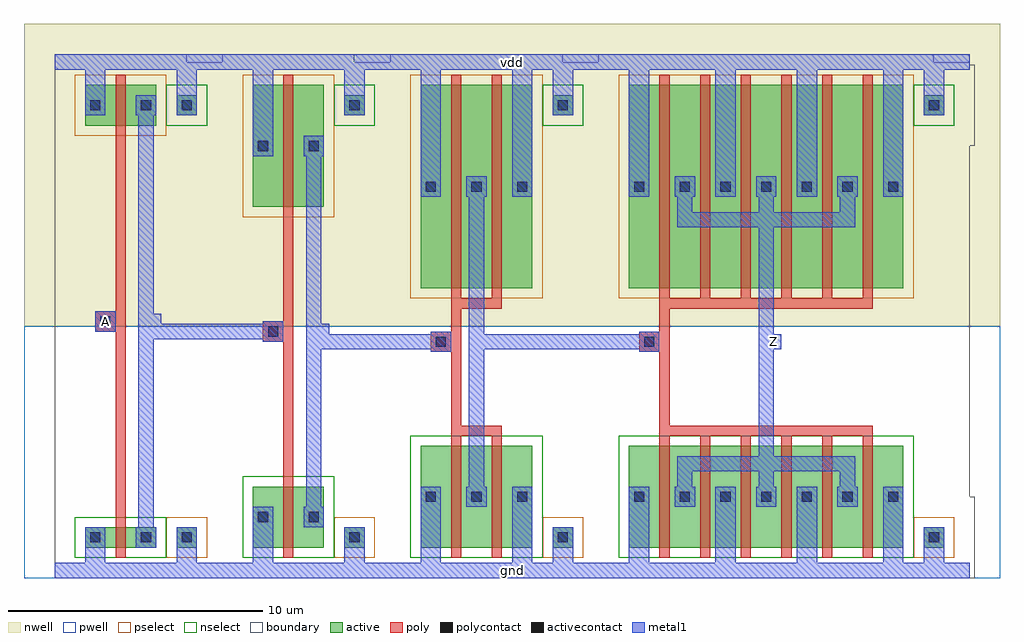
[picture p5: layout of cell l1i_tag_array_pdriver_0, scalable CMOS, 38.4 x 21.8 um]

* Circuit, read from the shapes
.subckt l1i_tag_array_pdriver_0 A Z gnd vdd
M1 l1i_tag_array_pinv_8_1/A A gnd gnd nfet w=0.8u l=0.4u
M2 l1i_tag_array_pinv_9_2/A l1i_tag_array_pinv_8_1/A gnd gnd nfet w=2.4u l=0.4u
M3 l1i_tag_array_pinv_10_3/A l1i_tag_array_pinv_9_2/A gnd gnd nfet w=4u l=0.4u m=2
M4 Z l1i_tag_array_pinv_10_3/A gnd gnd nfet w=4u l=0.4u m=6
M5 l1i_tag_array_pinv_8_1/A A vdd vdd pfet w=1.6u l=0.4u
M6 l1i_tag_array_pinv_9_2/A l1i_tag_array_pinv_8_1/A vdd vdd pfet w=4.8u l=0.4u
M7 l1i_tag_array_pinv_10_3/A l1i_tag_array_pinv_9_2/A vdd vdd pfet w=8u l=0.4u m=2
M8 Z l1i_tag_array_pinv_10_3/A vdd vdd pfet w=8u l=0.4u m=6
.ends

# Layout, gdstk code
import gdstk
lib = gdstk.Library(unit=1e-6, precision=1e-09)
def R(c, l, rs):  # rectangles x0, y0, x1, y1
    for r in rs: c.add(gdstk.rectangle(r[:2], r[2:], *l))
def A(c, l, x, y, w, h, nx, ny, dx, dy):  # array of equal rectangles
    R(c, l, [(x+i*dx, y+j*dy, x+i*dx+w, y+j*dy+h) for i in range(nx) for j in range(ny)])
pwell = (41, 0)
nwell = (42, 0)
active = (43, 0)
pselect = (44, 0)
nselect = (45, 0)
poly = (46, 0)
polycontact = (47, 0)
activecontact = (48, 0)
metal1 = (49, 0)
boundary = (63, 0)

l1i_tag_array_contact_11 = lib.new_cell('l1i_tag_array_contact_11')
R(l1i_tag_array_contact_11, nwell, [(-1.2,-1.2,2,2)])
R(l1i_tag_array_contact_11, active, [(0,0,0.8,0.8)])
R(l1i_tag_array_contact_11, pselect, [(-0.4,-0.4,1.2,1.2)])
R(l1i_tag_array_contact_11, activecontact, [(0.2,0.2,0.6,0.6)])
R(l1i_tag_array_contact_11, metal1, [(0,0,0.8,0.8)])
R(l1i_tag_array_contact_11, boundary, [(-1.2,-1.2,2,2)])

l1i_tag_array_pmos_m1_w1 = lib.new_cell('l1i_tag_array_pmos_m1_w1_600_sm1_dm1_da_p')
R(l1i_tag_array_pmos_m1_w1, nwell, [(-1.2,-1.2,4,2.8)])
R(l1i_tag_array_pmos_m1_w1, active, [(0,0,2.8,1.6)])
R(l1i_tag_array_pmos_m1_w1, pselect, [(-0.4,-0.4,3.2,2)])
R(l1i_tag_array_pmos_m1_w1, poly, [(1.2,-0.4,1.6,2), (1.2,-0.4,1.6,2)])
R(l1i_tag_array_pmos_m1_w1, metal1, [(0,0.4,0.8,1.2), (2,0.4,2.8,1.2)])
R(l1i_tag_array_pmos_m1_w1, boundary, [(-1.2,-1.2,4,2.8)])
l1i_tag_array_pmos_m1_w1.add(gdstk.Reference(l1i_tag_array_contact_11, (0,0.4)))
l1i_tag_array_pmos_m1_w1.add(gdstk.Reference(l1i_tag_array_contact_11, (2,0.4)))
l1i_tag_array_pmos_m1_w1.add(gdstk.Label('G', (1.4,0.8), layer=46, texttype=0))
l1i_tag_array_pmos_m1_w1.add(gdstk.Label('S', (0.4,0.8), layer=49, texttype=0))
l1i_tag_array_pmos_m1_w1.add(gdstk.Label('D', (2.4,0.8), layer=49, texttype=0))

l1i_tag_array_contact_10 = lib.new_cell('l1i_tag_array_contact_10')
R(l1i_tag_array_contact_10, pwell, [(-1.2,-1.2,2,2)])
R(l1i_tag_array_contact_10, active, [(0,0,0.8,0.8)])
R(l1i_tag_array_contact_10, nselect, [(-0.4,-0.4,1.2,1.2)])
R(l1i_tag_array_contact_10, activecontact, [(0.2,0.2,0.6,0.6)])
R(l1i_tag_array_contact_10, metal1, [(0,0,0.8,0.8)])
R(l1i_tag_array_contact_10, boundary, [(-1.2,-1.2,2,2)])

l1i_tag_array_nmos_m1_w0 = lib.new_cell('l1i_tag_array_nmos_m1_w0_800_sm1_dm1_da_p')
R(l1i_tag_array_nmos_m1_w0, pwell, [(-1.2,-1.2,4,2)])
R(l1i_tag_array_nmos_m1_w0, active, [(0,0,2.8,0.8)])
R(l1i_tag_array_nmos_m1_w0, nselect, [(-0.4,-0.4,3.2,1.2)])
R(l1i_tag_array_nmos_m1_w0, poly, [(1.2,-0.4,1.6,1.2), (1.2,-0.4,1.6,1.2)])
R(l1i_tag_array_nmos_m1_w0, metal1, [(0,0,0.8,0.8), (2,0,2.8,0.8)])
R(l1i_tag_array_nmos_m1_w0, boundary, [(-1.2,-1.2,4,2)])
l1i_tag_array_nmos_m1_w0.add(gdstk.Reference(l1i_tag_array_contact_10, (0,0)))
l1i_tag_array_nmos_m1_w0.add(gdstk.Reference(l1i_tag_array_contact_10, (2,0)))
l1i_tag_array_nmos_m1_w0.add(gdstk.Label('G', (1.4,0.4), layer=46, texttype=0))
l1i_tag_array_nmos_m1_w0.add(gdstk.Label('S', (0.4,0.4), layer=49, texttype=0))
l1i_tag_array_nmos_m1_w0.add(gdstk.Label('D', (2.4,0.4), layer=49, texttype=0))

l1i_tag_array_contact_12 = lib.new_cell('l1i_tag_array_contact_12')
R(l1i_tag_array_contact_12, nwell, [(-1.2,-1.2,2,2)])
R(l1i_tag_array_contact_12, active, [(0,0,0.8,0.8)])
R(l1i_tag_array_contact_12, nselect, [(-0.4,-0.4,1.2,1.2)])
R(l1i_tag_array_contact_12, activecontact, [(0.2,0.2,0.6,0.6)])
R(l1i_tag_array_contact_12, metal1, [(0,0,0.8,0.8)])
R(l1i_tag_array_contact_12, boundary, [(-1.2,-1.2,2,2)])

l1i_tag_array_contact_13 = lib.new_cell('l1i_tag_array_contact_13')
R(l1i_tag_array_contact_13, pwell, [(-1.2,-1.2,2,2)])
R(l1i_tag_array_contact_13, active, [(0,0,0.8,0.8)])
R(l1i_tag_array_contact_13, pselect, [(-0.4,-0.4,1.2,1.2)])
R(l1i_tag_array_contact_13, activecontact, [(0.2,0.2,0.6,0.6)])
R(l1i_tag_array_contact_13, metal1, [(0,0,0.8,0.8)])
R(l1i_tag_array_contact_13, boundary, [(-1.2,-1.2,2,2)])

l1i_tag_array_contact_14 = lib.new_cell('l1i_tag_array_contact_14')
R(l1i_tag_array_contact_14, poly, [(0,0,0.8,0.8)])
R(l1i_tag_array_contact_14, polycontact, [(0.2,0.2,0.6,0.6)])
R(l1i_tag_array_contact_14, metal1, [(0,0,0.8,0.8)])
R(l1i_tag_array_contact_14, boundary, [(0,0,0.8,0.8)])

l1i_tag_array_pinv_7 = lib.new_cell('l1i_tag_array_pinv_7')
R(l1i_tag_array_pinv_7, pwell, [(-1.2,-0.3,7.8,9.6)])
R(l1i_tag_array_pinv_7, nwell, [(-1.2,9.6,7.8,21.5)])
R(l1i_tag_array_pinv_7, poly, [(2.4,2.1,2.8,17.1), (2,9.4,2.4,10.2)])
R(l1i_tag_array_pinv_7, metal1, [(0,-0.3,6.6,0.3), (1.2,-0.3,2,0.9), (4.8,0,5.6,1.3), (3.3,0.9,3.9,18.7), (1.6,9.4,2.4,10.2), (3.6,9.5,4.2,10.1), (1.2,17.9,2,20.3), (4.8,18.3,5.6,20), (0,19.7,6.6,20.3)])
R(l1i_tag_array_pinv_7, boundary, [(0,0,6.6,20), (0,0,6.6,20)])
l1i_tag_array_pinv_7.add(gdstk.Reference(l1i_tag_array_pmos_m1_w1, (1.2,17.5)))
l1i_tag_array_pinv_7.add(gdstk.Reference(l1i_tag_array_nmos_m1_w0, (1.2,0.9)))
l1i_tag_array_pinv_7.add(gdstk.Reference(l1i_tag_array_contact_12, (4.8,17.9)))
l1i_tag_array_pinv_7.add(gdstk.Reference(l1i_tag_array_contact_13, (4.8,0.9)))
l1i_tag_array_pinv_7.add(gdstk.Reference(l1i_tag_array_contact_14, (1.6,9.4)))
l1i_tag_array_pinv_7.add(gdstk.Label('A', (2,9.8), layer=49, texttype=0))
l1i_tag_array_pinv_7.add(gdstk.Label('Z', (3.9,9.8), layer=49, texttype=0))
l1i_tag_array_pinv_7.add(gdstk.Label('gnd', (3.3,0), layer=49, texttype=0))
l1i_tag_array_pinv_7.add(gdstk.Label('vdd', (3.3,20), layer=49, texttype=0))

l1i_tag_array_pmos_m1_w4 = lib.new_cell('l1i_tag_array_pmos_m1_w4_800_sm1_dm1_da_p')
R(l1i_tag_array_pmos_m1_w4, nwell, [(-1.2,-1.2,4,6)])
R(l1i_tag_array_pmos_m1_w4, active, [(0,0,2.8,4.8)])
R(l1i_tag_array_pmos_m1_w4, pselect, [(-0.4,-0.4,3.2,5.2)])
R(l1i_tag_array_pmos_m1_w4, poly, [(1.2,-0.4,1.6,5.2), (1.2,-0.4,1.6,5.2)])
R(l1i_tag_array_pmos_m1_w4, metal1, [(0,2,0.8,2.8), (2,2,2.8,2.8)])
R(l1i_tag_array_pmos_m1_w4, boundary, [(-1.2,-1.2,4,6)])
l1i_tag_array_pmos_m1_w4.add(gdstk.Reference(l1i_tag_array_contact_11, (0,2)))
l1i_tag_array_pmos_m1_w4.add(gdstk.Reference(l1i_tag_array_contact_11, (2,2)))
l1i_tag_array_pmos_m1_w4.add(gdstk.Label('G', (1.4,2.4), layer=46, texttype=0))
l1i_tag_array_pmos_m1_w4.add(gdstk.Label('S', (0.4,2.4), layer=49, texttype=0))
l1i_tag_array_pmos_m1_w4.add(gdstk.Label('D', (2.4,2.4), layer=49, texttype=0))

l1i_tag_array_nmos_m1_w2 = lib.new_cell('l1i_tag_array_nmos_m1_w2_400_sm1_dm1_da_p')
R(l1i_tag_array_nmos_m1_w2, pwell, [(-1.2,-1.2,4,3.6)])
R(l1i_tag_array_nmos_m1_w2, active, [(0,0,2.8,2.4)])
R(l1i_tag_array_nmos_m1_w2, nselect, [(-0.4,-0.4,3.2,2.8)])
R(l1i_tag_array_nmos_m1_w2, poly, [(1.2,-0.4,1.6,2.8), (1.2,-0.4,1.6,2.8)])
R(l1i_tag_array_nmos_m1_w2, metal1, [(0,0.8,0.8,1.6), (2,0.8,2.8,1.6)])
R(l1i_tag_array_nmos_m1_w2, boundary, [(-1.2,-1.2,4,3.6)])
l1i_tag_array_nmos_m1_w2.add(gdstk.Reference(l1i_tag_array_contact_10, (0,0.8)))
l1i_tag_array_nmos_m1_w2.add(gdstk.Reference(l1i_tag_array_contact_10, (2,0.8)))
l1i_tag_array_nmos_m1_w2.add(gdstk.Label('G', (1.4,1.2), layer=46, texttype=0))
l1i_tag_array_nmos_m1_w2.add(gdstk.Label('S', (0.4,1.2), layer=49, texttype=0))
l1i_tag_array_nmos_m1_w2.add(gdstk.Label('D', (2.4,1.2), layer=49, texttype=0))

l1i_tag_array_pinv_8 = lib.new_cell('l1i_tag_array_pinv_8')
R(l1i_tag_array_pinv_8, pwell, [(-1.2,-0.3,7.8,9.6)])
R(l1i_tag_array_pinv_8, nwell, [(-1.2,9.6,7.8,21.5)])
R(l1i_tag_array_pinv_8, poly, [(2.4,3.7,2.8,13.9), (2,9,2.4,9.8)])
R(l1i_tag_array_pinv_8, metal1, [(0,-0.3,6.6,0.3), (1.2,-0.3,2,1.7), (4.8,0,5.6,1.3), (3.3,1.7,3.9,17.1), (1.6,9,2.4,9.8), (3.6,9.1,4.2,9.7), (1.2,16.3,2,20.3), (4.8,18.3,5.6,20), (0,19.7,6.6,20.3)])
R(l1i_tag_array_pinv_8, boundary, [(0,0,6.6,20), (0,0,6.6,20)])
l1i_tag_array_pinv_8.add(gdstk.Reference(l1i_tag_array_pmos_m1_w4, (1.2,14.3)))
l1i_tag_array_pinv_8.add(gdstk.Reference(l1i_tag_array_nmos_m1_w2, (1.2,0.9)))
l1i_tag_array_pinv_8.add(gdstk.Reference(l1i_tag_array_contact_12, (4.8,17.9)))
l1i_tag_array_pinv_8.add(gdstk.Reference(l1i_tag_array_contact_13, (4.8,0.9)))
l1i_tag_array_pinv_8.add(gdstk.Reference(l1i_tag_array_contact_14, (1.6,9)))
l1i_tag_array_pinv_8.add(gdstk.Label('A', (2,9.4), layer=49, texttype=0))
l1i_tag_array_pinv_8.add(gdstk.Label('Z', (3.9,9.4), layer=49, texttype=0))
l1i_tag_array_pinv_8.add(gdstk.Label('gnd', (3.3,0), layer=49, texttype=0))
l1i_tag_array_pinv_8.add(gdstk.Label('vdd', (3.3,20), layer=49, texttype=0))

l1i_tag_array_pmos_m2_w8 = lib.new_cell('l1i_tag_array_pmos_m2_w8_000_sm1_dm1_da_p')
R(l1i_tag_array_pmos_m2_w8, nwell, [(-1.2,-1.2,5.6,9.2)])
R(l1i_tag_array_pmos_m2_w8, active, [(0,0,4.4,8)])
R(l1i_tag_array_pmos_m2_w8, pselect, [(-0.4,-0.4,4.8,8.4)])
R(l1i_tag_array_pmos_m2_w8, poly, [(1.2,-0.8,3.2,-0.4), (1.2,-0.4,1.6,8.4), (2.8,-0.4,3.2,8.4)])
A(l1i_tag_array_pmos_m2_w8, metal1, 0, 3.6, 0.8, 0.8, 3, 1, 1.8, 0)
R(l1i_tag_array_pmos_m2_w8, boundary, [(-1.2,-1.2,5.6,9.2)])
l1i_tag_array_pmos_m2_w8.add(gdstk.Reference(l1i_tag_array_contact_11, (0,3.6)))
l1i_tag_array_pmos_m2_w8.add(gdstk.Reference(l1i_tag_array_contact_11, (1.8,3.6)))
l1i_tag_array_pmos_m2_w8.add(gdstk.Reference(l1i_tag_array_contact_11, (3.6,3.6)))
l1i_tag_array_pmos_m2_w8.add(gdstk.Label('G', (2.2,-0.6), layer=46, texttype=0))
l1i_tag_array_pmos_m2_w8.add(gdstk.Label('S', (4,4), layer=49, texttype=0))
l1i_tag_array_pmos_m2_w8.add(gdstk.Label('S', (0.4,4), layer=49, texttype=0))
l1i_tag_array_pmos_m2_w8.add(gdstk.Label('D', (2.2,4), layer=49, texttype=0))

l1i_tag_array_nmos_m2_w4 = lib.new_cell('l1i_tag_array_nmos_m2_w4_000_sm1_dm1_da_p')
R(l1i_tag_array_nmos_m2_w4, pwell, [(-1.2,-1.2,5.6,5.2)])
R(l1i_tag_array_nmos_m2_w4, active, [(0,0,4.4,4)])
R(l1i_tag_array_nmos_m2_w4, nselect, [(-0.4,-0.4,4.8,4.4)])
R(l1i_tag_array_nmos_m2_w4, poly, [(1.2,-0.4,1.6,4.4), (2.8,-0.4,3.2,4.4), (1.2,4.4,3.2,4.8)])
A(l1i_tag_array_nmos_m2_w4, metal1, 0, 1.6, 0.8, 0.8, 3, 1, 1.8, 0)
R(l1i_tag_array_nmos_m2_w4, boundary, [(-1.2,-1.2,5.6,5.2)])
l1i_tag_array_nmos_m2_w4.add(gdstk.Reference(l1i_tag_array_contact_10, (0,1.6)))
l1i_tag_array_nmos_m2_w4.add(gdstk.Reference(l1i_tag_array_contact_10, (1.8,1.6)))
l1i_tag_array_nmos_m2_w4.add(gdstk.Reference(l1i_tag_array_contact_10, (3.6,1.6)))
l1i_tag_array_nmos_m2_w4.add(gdstk.Label('G', (2.2,4.6), layer=46, texttype=0))
l1i_tag_array_nmos_m2_w4.add(gdstk.Label('S', (0.4,2), layer=49, texttype=0))
l1i_tag_array_nmos_m2_w4.add(gdstk.Label('S', (4,2), layer=49, texttype=0))
l1i_tag_array_nmos_m2_w4.add(gdstk.Label('D', (2.2,2), layer=49, texttype=0))

l1i_tag_array_pinv_9 = lib.new_cell('l1i_tag_array_pinv_9')
R(l1i_tag_array_pinv_9, pwell, [(-1.2,-0.3,9.4,9.6)])
R(l1i_tag_array_pinv_9, nwell, [(-1.2,9.6,9.4,21.5)])
R(l1i_tag_array_pinv_9, poly, [(2.4,5.7,2.8,10.3), (2,8.6,2.4,9.4)])
R(l1i_tag_array_pinv_9, metal1, [(0,-0.3,8.2,0.3), (1.2,-0.3,2,2.5), (4.8,-0.3,5.6,2.5), (6.4,0,7.2,1.3), (3.1,2.5,3.7,15.5), (1.6,8.6,2.4,9.4), (3.4,8.7,4,9.3), (1.2,14.7,2,20.3), (4.8,14.7,5.6,20.3), (6.4,18.3,7.2,20), (0,19.7,8.2,20.3)])
R(l1i_tag_array_pinv_9, boundary, [(0,0,8.2,20), (0,0,8.2,20)])
l1i_tag_array_pinv_9.add(gdstk.Reference(l1i_tag_array_pmos_m2_w8, (1.2,11.1)))
l1i_tag_array_pinv_9.add(gdstk.Reference(l1i_tag_array_nmos_m2_w4, (1.2,0.9)))
l1i_tag_array_pinv_9.add(gdstk.Reference(l1i_tag_array_contact_12, (6.4,17.9)))
l1i_tag_array_pinv_9.add(gdstk.Reference(l1i_tag_array_contact_13, (6.4,0.9)))
l1i_tag_array_pinv_9.add(gdstk.Reference(l1i_tag_array_contact_14, (1.6,8.6)))
l1i_tag_array_pinv_9.add(gdstk.Label('A', (2,9), layer=49, texttype=0))
l1i_tag_array_pinv_9.add(gdstk.Label('Z', (3.7,9), layer=49, texttype=0))
l1i_tag_array_pinv_9.add(gdstk.Label('gnd', (4.1,0), layer=49, texttype=0))
l1i_tag_array_pinv_9.add(gdstk.Label('vdd', (4.1,20), layer=49, texttype=0))

l1i_tag_array_pmos_m6_w8 = lib.new_cell('l1i_tag_array_pmos_m6_w8_000_sm1_dm1_da_p')
R(l1i_tag_array_pmos_m6_w8, nwell, [(-1.2,-1.2,12,9.2)])
R(l1i_tag_array_pmos_m6_w8, active, [(0,0,10.8,8)])
R(l1i_tag_array_pmos_m6_w8, pselect, [(-0.4,-0.4,11.2,8.4)])
A(l1i_tag_array_pmos_m6_w8, poly, 1.2, -0.4, 0.4, 8.8, 6, 1, 1.6, 0)
R(l1i_tag_array_pmos_m6_w8, poly, [(1.2,-0.8,9.6,-0.4)])
A(l1i_tag_array_pmos_m6_w8, metal1, 1.9, 2.7, 0.6, 1.3, 3, 1, 3.2, 0)
R(l1i_tag_array_pmos_m6_w8, metal1, [(1.9,2.4,8.9,3), (0,3.6,0.8,4.4), (3.4,3.6,4.2,4.4), (6.6,3.6,7.4,4.4), (10,3.6,10.8,4.4)])
R(l1i_tag_array_pmos_m6_w8, boundary, [(-1.2,-1.2,12,9.2)])
l1i_tag_array_pmos_m6_w8.add(gdstk.Reference(l1i_tag_array_contact_11, (0,3.6)))
l1i_tag_array_pmos_m6_w8.add(gdstk.Reference(l1i_tag_array_contact_11, (1.8,3.6)))
l1i_tag_array_pmos_m6_w8.add(gdstk.Reference(l1i_tag_array_contact_11, (3.4,3.6)))
l1i_tag_array_pmos_m6_w8.add(gdstk.Reference(l1i_tag_array_contact_11, (5,3.6)))
l1i_tag_array_pmos_m6_w8.add(gdstk.Reference(l1i_tag_array_contact_11, (6.6,3.6)))
l1i_tag_array_pmos_m6_w8.add(gdstk.Reference(l1i_tag_array_contact_11, (8.2,3.6)))
l1i_tag_array_pmos_m6_w8.add(gdstk.Reference(l1i_tag_array_contact_11, (10,3.6)))
l1i_tag_array_pmos_m6_w8.add(gdstk.Label('G', (5.4,-0.6), layer=46, texttype=0))
l1i_tag_array_pmos_m6_w8.add(gdstk.Label('S', (7,4), layer=49, texttype=0))
l1i_tag_array_pmos_m6_w8.add(gdstk.Label('S', (3.8,4), layer=49, texttype=0))
l1i_tag_array_pmos_m6_w8.add(gdstk.Label('S', (10.4,4), layer=49, texttype=0))
l1i_tag_array_pmos_m6_w8.add(gdstk.Label('S', (0.4,4), layer=49, texttype=0))
l1i_tag_array_pmos_m6_w8.add(gdstk.Label('D', (5.4,2.7), layer=49, texttype=0))

l1i_tag_array_nmos_m6_w4 = lib.new_cell('l1i_tag_array_nmos_m6_w4_000_sm1_dm1_da_p')
R(l1i_tag_array_nmos_m6_w4, pwell, [(-1.2,-1.2,12,5.2)])
R(l1i_tag_array_nmos_m6_w4, active, [(0,0,10.8,4)])
R(l1i_tag_array_nmos_m6_w4, nselect, [(-0.4,-0.4,11.2,4.4)])
A(l1i_tag_array_nmos_m6_w4, poly, 1.2, -0.4, 0.4, 4.8, 6, 1, 1.6, 0)
R(l1i_tag_array_nmos_m6_w4, poly, [(1.2,4.4,9.6,4.8)])
A(l1i_tag_array_nmos_m6_w4, metal1, 1.9, 2, 0.6, 1.3, 3, 1, 3.2, 0)
R(l1i_tag_array_nmos_m6_w4, metal1, [(0,1.6,0.8,2.4), (3.4,1.6,4.2,2.4), (6.6,1.6,7.4,2.4), (10,1.6,10.8,2.4), (1.9,3,8.9,3.6)])
R(l1i_tag_array_nmos_m6_w4, boundary, [(-1.2,-1.2,12,5.2)])
l1i_tag_array_nmos_m6_w4.add(gdstk.Reference(l1i_tag_array_contact_10, (0,1.6)))
l1i_tag_array_nmos_m6_w4.add(gdstk.Reference(l1i_tag_array_contact_10, (1.8,1.6)))
l1i_tag_array_nmos_m6_w4.add(gdstk.Reference(l1i_tag_array_contact_10, (3.4,1.6)))
l1i_tag_array_nmos_m6_w4.add(gdstk.Reference(l1i_tag_array_contact_10, (5,1.6)))
l1i_tag_array_nmos_m6_w4.add(gdstk.Reference(l1i_tag_array_contact_10, (6.6,1.6)))
l1i_tag_array_nmos_m6_w4.add(gdstk.Reference(l1i_tag_array_contact_10, (8.2,1.6)))
l1i_tag_array_nmos_m6_w4.add(gdstk.Reference(l1i_tag_array_contact_10, (10,1.6)))
l1i_tag_array_nmos_m6_w4.add(gdstk.Label('G', (5.4,4.6), layer=46, texttype=0))
l1i_tag_array_nmos_m6_w4.add(gdstk.Label('S', (7,2), layer=49, texttype=0))
l1i_tag_array_nmos_m6_w4.add(gdstk.Label('S', (0.4,2), layer=49, texttype=0))
l1i_tag_array_nmos_m6_w4.add(gdstk.Label('S', (10.4,2), layer=49, texttype=0))
l1i_tag_array_nmos_m6_w4.add(gdstk.Label('S', (3.8,2), layer=49, texttype=0))
l1i_tag_array_nmos_m6_w4.add(gdstk.Label('D', (5.4,3.3), layer=49, texttype=0))

l1i_tag_array_pinv_10 = lib.new_cell('l1i_tag_array_pinv_10')
R(l1i_tag_array_pinv_10, pwell, [(-1.2,-0.3,15.8,9.6)])
R(l1i_tag_array_pinv_10, nwell, [(-1.2,9.6,15.8,21.5)])
R(l1i_tag_array_pinv_10, poly, [(2.4,5.7,2.8,10.3), (2,8.6,2.4,9.4)])
R(l1i_tag_array_pinv_10, metal1, [(0,-0.3,14.6,0.3), (1.2,-0.3,2,2.5), (4.6,-0.3,5.4,2.5), (7.8,-0.3,8.6,2.5), (11.2,-0.3,12,2.5), (12.8,0,13.6,1.3), (6.3,3.9,6.9,14.1), (1.6,8.6,2.4,9.4), (6.6,8.7,7.2,9.3), (1.2,14.7,2,20.3), (4.6,14.7,5.4,20.3), (7.8,14.7,8.6,20.3), (11.2,14.7,12,20.3), (12.8,18.3,13.6,20), (0,19.7,14.6,20.3)])
R(l1i_tag_array_pinv_10, boundary, [(0,0,14.6,20), (0,0,14.6,20)])
l1i_tag_array_pinv_10.add(gdstk.Reference(l1i_tag_array_pmos_m6_w8, (1.2,11.1)))
l1i_tag_array_pinv_10.add(gdstk.Reference(l1i_tag_array_nmos_m6_w4, (1.2,0.9)))
l1i_tag_array_pinv_10.add(gdstk.Reference(l1i_tag_array_contact_12, (12.8,17.9)))
l1i_tag_array_pinv_10.add(gdstk.Reference(l1i_tag_array_contact_13, (12.8,0.9)))
l1i_tag_array_pinv_10.add(gdstk.Reference(l1i_tag_array_contact_14, (1.6,8.6)))
l1i_tag_array_pinv_10.add(gdstk.Label('A', (2,9), layer=49, texttype=0))
l1i_tag_array_pinv_10.add(gdstk.Label('Z', (6.9,9), layer=49, texttype=0))
l1i_tag_array_pinv_10.add(gdstk.Label('gnd', (7.3,0), layer=49, texttype=0))
l1i_tag_array_pinv_10.add(gdstk.Label('vdd', (7.3,20), layer=49, texttype=0))

l1i_tag_array_pdriver_0 = lib.new_cell('l1i_tag_array_pdriver_0')
R(l1i_tag_array_pdriver_0, pwell, [(-1.2,-0.3,37.2,9.6)])
R(l1i_tag_array_pdriver_0, nwell, [(-1.2,9.6,37.2,21.5)])
R(l1i_tag_array_pdriver_0, metal1, [(0,-0.3,36,0.3), (10.2,8.7,10.8,9.3), (10.5,8.7,15.2,9.3), (16.9,8.7,23.4,9.3), (28,8.7,28.6,9.3), (10.2,9,10.8,9.4), (3.6,9.1,4.2,9.7), (3.9,9.1,8.6,9.7), (1.6,9.4,2.4,10.2), (3.6,9.4,4.2,9.8), (0,19.7,36,20.3)])
R(l1i_tag_array_pdriver_0, boundary, [(0,0,36,20), (0,0,36,20)])
l1i_tag_array_pdriver_0.add(gdstk.Reference(l1i_tag_array_pinv_7, (0,0)))
l1i_tag_array_pdriver_0.add(gdstk.Reference(l1i_tag_array_pinv_8, (6.6,0)))
l1i_tag_array_pdriver_0.add(gdstk.Reference(l1i_tag_array_pinv_9, (13.2,0)))
l1i_tag_array_pdriver_0.add(gdstk.Reference(l1i_tag_array_pinv_10, (21.4,0)))
l1i_tag_array_pdriver_0.add(gdstk.Label('Z', (28.3,9), layer=49, texttype=0))
l1i_tag_array_pdriver_0.add(gdstk.Label('A', (2,9.8), layer=49, texttype=0))
l1i_tag_array_pdriver_0.add(gdstk.Label('gnd', (18,0), layer=49, texttype=0))
l1i_tag_array_pdriver_0.add(gdstk.Label('vdd', (18,20), layer=49, texttype=0))

lib.write_gds('l1i_tag_array_pdriver_0.gds')
